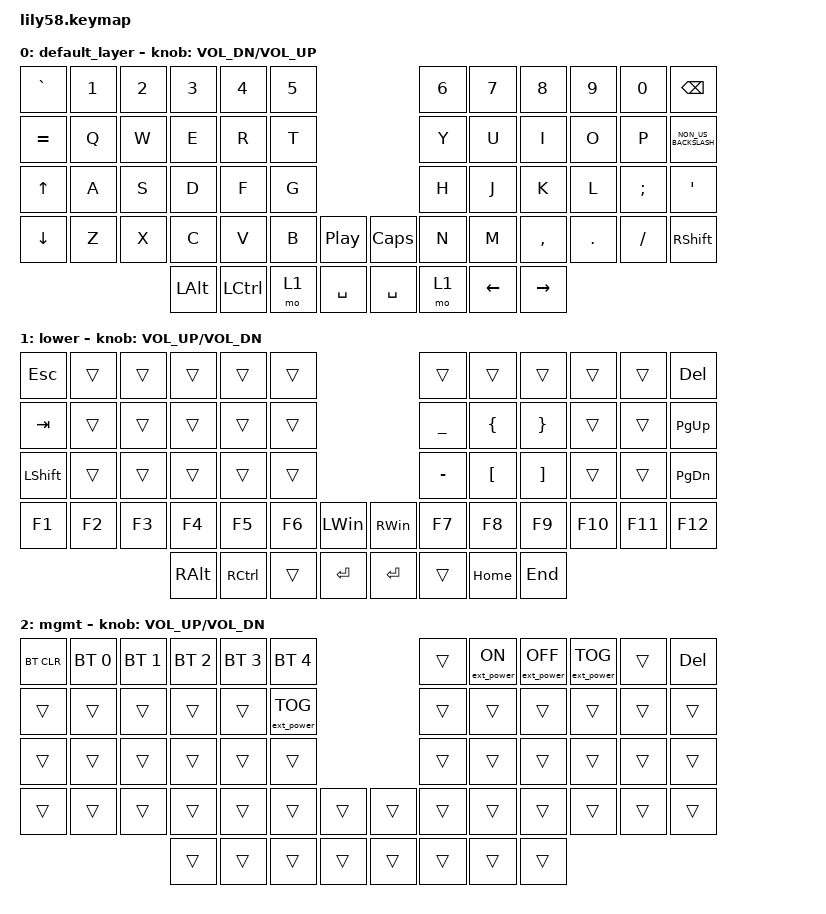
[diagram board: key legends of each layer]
/*
 * Copyright (c) 2020 The ZMK Contributors
 *
 * SPDX-License-Identifier: MIT
 */

#include <behaviors.dtsi>
#include <dt-bindings/zmk/bt.h>
#include <dt-bindings/zmk/ext_power.h>
#include <dt-bindings/zmk/keys.h>

/ {
    behaviors {
        td_ShiftCaps: td_ShiftCaps {
            compatible = "zmk,behavior-tap-dance";
            label = "TD_SHIFTCAPS";
            #binding-cells = <0>;
            bindings = <&kp RIGHT_SHIFT>, <&kp CAPSLOCK>;

            tapping-term-ms = <350>;
        };

        td_LowerShift: td_LowerShift {
            compatible = "zmk,behavior-tap-dance";
            label = "TD_LOWERSHIFT";
            #binding-cells = <0>;
            bindings = <&mo 1>, <&kp LEFT_SHIFT>;

            tapping-term-ms = <350>;
        };
    };

    combos {
        compatible = "zmk,combos";

        mgmt_left {
            bindings = <&mo 2>;
            key-positions = <50 51 52>;
        };

        mgmt_right {
            bindings = <&mo 2>;
            key-positions = <55 56 57>;
        };
    };

    keymap {
        compatible = "zmk,keymap";

        default_layer {
            // ------------------------------------------------------------------------------------------------------------
            // |  ESC  |  1  |  2  |  3   |  4   |  5   |                   |  6   |  7    |  8    |  9   |   0   |   `   |
            // |  TAB  |  Q  |  W  |  E   |  R   |  T   |                   |  Y   |  U    |  I    |  O   |   P   |   -   |
            // |  CTRL |  A  |  S  |  D   |  F   |  G   |                   |  H   |  J    |  K    |  L   |   ;   |   '   |
            // | SHIFT |  Z  |  X  |  C   |  V   |  B   |   "["  |  |  "]"  |  N   |  M    |  ,    |  .   |   /   | SHIFT |
            //                     | ALT  | GUI  | LOWER|  SPACE |  | ENTER | RAISE| BSPC  | GUI   |

            bindings = <
&kp GRAVE     &kp N1  &kp N2  &kp N3        &kp N4     &kp N5                                    &kp N6  &kp N7    &kp N8     &kp N9      &kp N0     &kp BACKSPACE
&kp EQUAL     &kp Q   &kp W   &kp E         &kp R      &kp T                                     &kp Y   &kp U     &kp I      &kp O       &kp P      &kp NON_US_BACKSLASH
&kp UP_ARROW  &kp A   &kp S   &kp D         &kp F      &kp G                                     &kp H   &kp J     &kp K      &kp L       &kp SEMI   &kp SQT
&kp DOWN      &kp Z   &kp X   &kp C         &kp V      &kp B   &kp C_PLAY_PAUSE    &kp CAPSLOCK  &kp N   &kp M     &kp COMMA  &kp PERIOD  &kp SLASH  &kp RIGHT_SHIFT
                              &kp LEFT_ALT  &kp LCTRL  &mo 1   &kp SPACE           &kp SPACE     &mo 1   &kp LEFT  &kp RIGHT
            >;

            sensor-bindings = <&inc_dec_kp C_VOL_DN C_VOL_UP>;
        };

        lower {
            // ------------------------------------------------------------------------------------------------------------
            // | BTCLR | BT1 | BT2 |  BT3 |  BT4 |  BT5 |                   |      |       |       |      |       |       |
            // |  F1   |  F2 |  F3 |  F4  |  F5  |  F6  |                   |  F7  |  F8   |  F9   |  F10 |  F11  |  F12  |
            // |   `   |  !  |  @  |  #   |  $   |  %   |                   |  ^   |  &    |  *    |  (   |   )   |   ~   |
            // |       |     |     |      |      |      |        |  |       |      |  _    |  +    |  {   |   }   |  "|"  |
            //                     |      |      |      |        |  |       |      |       |       |

            bindings = <
&kp ESCAPE      &trans  &trans  &trans         &trans     &trans                                 &trans     &trans          &trans           &trans   &trans   &kp DELETE
&kp TAB         &trans  &trans  &trans         &trans     &trans                                 &kp UNDER  &kp LEFT_BRACE  &kp RIGHT_BRACE  &trans   &trans   &kp PAGE_UP
&kp LEFT_SHIFT  &trans  &trans  &trans         &trans     &trans                                 &kp MINUS  &kp LBKT        &kp RBKT         &trans   &trans   &kp PAGE_DOWN
&kp F1          &kp F2  &kp F3  &kp F4         &kp F5     &kp F6  &kp LEFT_WIN    &kp RIGHT_WIN  &kp F7     &kp F8          &kp F9           &kp F10  &kp F11  &kp F12
                                &kp RIGHT_ALT  &kp RCTRL  &trans  &kp ENTER       &kp ENTER      &trans     &kp HOME        &kp END
            >;

            sensor-bindings = <&inc_dec_kp C_VOL_UP C_VOL_DN>;
        };

        mgmt {
            bindings = <
&bt BT_CLR  &bt BT_SEL 0  &bt BT_SEL 1  &bt BT_SEL 2  &bt BT_SEL 3  &bt BT_SEL 4                         &trans  &ext_power EP_ON  &ext_power EP_OFF  &ext_power EP_TOG  &trans  &kp DELETE
&trans      &trans        &trans        &trans        &trans        &ext_power EP_TOG                    &trans  &trans            &trans             &trans             &trans  &trans
&trans      &trans        &trans        &trans        &trans        &trans                               &trans  &trans            &trans             &trans             &trans  &trans
&trans      &trans        &trans        &trans        &trans        &trans             &trans    &trans  &trans  &trans            &trans             &trans             &trans  &trans
                                        &trans        &trans        &trans             &trans    &trans  &trans  &trans            &trans
            >;

            sensor-bindings = <&inc_dec_kp C_VOL_UP C_VOL_DN>;
        };
    };
};
